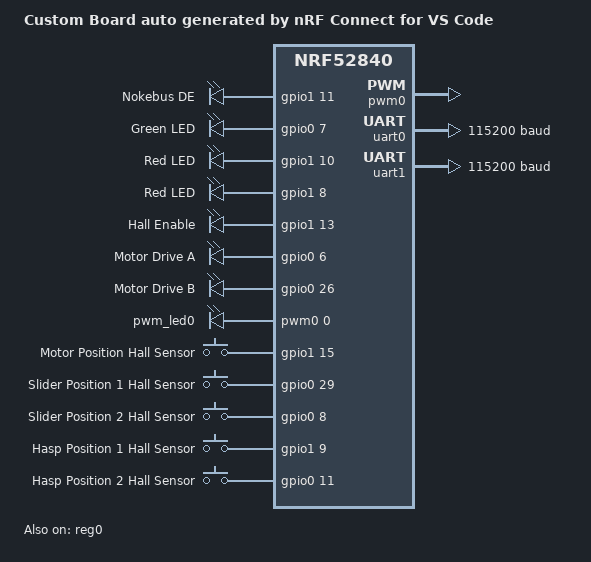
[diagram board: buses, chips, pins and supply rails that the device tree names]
/dts-v1/;
#include <nordic/nrf52840_qiaa.dtsi>
#include "Ion-pinctrl.dtsi"

/ {
	model = "Custom Board auto generated by nRF Connect for VS Code";
	compatible = "Noke,Ion";

	chosen {
		zephyr,sram = &sram0;
		zephyr,flash = &flash0;
		zephyr,code-partition = &slot0_partition;
	};

	leds {
		compatible = "gpio-leds";
		led0: led_0 {
			gpios = <&gpio1 11 (GPIO_PULL_UP | GPIO_ACTIVE_HIGH)>;
			label = "Nokebus DE";
		};
		led1: led_1 {
			gpios = <&gpio0 7 GPIO_ACTIVE_HIGH>;
			label = "Green LED";
		};
		led2: led_2 {
			gpios = <&gpio1 10 GPIO_ACTIVE_HIGH>;
			label = "Red LED";
		};
		led3: led_3 {
			gpios = <&gpio1 8 GPIO_ACTIVE_HIGH>;
			label = "Red LED";
		};
		led4: led_4 {
			gpios = <&gpio1 13 GPIO_ACTIVE_HIGH>;
			label = "Hall Enable";
		};
		led5: led_5 {
			gpios = <&gpio0 6 GPIO_ACTIVE_HIGH>;
			label = "Motor Drive A";
		};
		led6: led_6 {
			gpios = <&gpio0 26 GPIO_ACTIVE_HIGH>;
			label = "Motor Drive B";
		};
	};

	pwmleds {
		compatible = "pwm-leds";
		pwm_led0: pwm_led0 {
			pwms = <&pwm0 0 PWM_MSEC(20) PWM_POLARITY_NORMAL>;
		};
	};

	buttons {
		compatible = "gpio-keys";
		button0: button_0 {
			gpios = <&gpio1 15 GPIO_ACTIVE_HIGH>;
			label = "Motor Position Hall Sensor";
		};
		button1: button_1 {
			gpios = <&gpio0 29 GPIO_ACTIVE_HIGH>;
			label = "Slider Position 1 Hall Sensor";
		};
		button2: button_2 {
			gpios = <&gpio0 8 GPIO_ACTIVE_HIGH>;
			label = "Slider Position 2 Hall Sensor";
		};
		button3: button_3 {
			gpios = <&gpio1 9 GPIO_ACTIVE_HIGH>;
			label = "Hasp Position 1 Hall Sensor";
		};
		button4: button_4 {
			gpios = <&gpio0 11 GPIO_ACTIVE_HIGH>;
			label = "Hasp Position 2 Hall Sensor";
		};
	};

		aliases {
			nb-de = &led0;
			hall-en = &led4;
			led-green = &led1;
			led-red = &led2;
			led-blue = &led3;
			buzzer = &pwm_led0;
			motor1 = &led5;
			motor2 = &led6;
			hall0 = &button0;
			hall1 = &button1;
			hall2 = &button2;
			hall3 = &button0;
			hall4 = &button4;
		};
};

&pwm0 {
	status = "okay";
	pinctrl-0 = <&pwm0_default>;
	pinctrl-1 = <&pwm0_sleep>;
	pinctrl-names = "default","sleep";
};

&flash0 {
	partitions {
		compatible = "fixed-partitions";
		#address-cells = <1>;
		#size-cells = <1>;

		boot_partition: partition@0 {
			label = "mcuboot";
			reg = <0x00000000 DT_SIZE_K(48)>;
		};

		slot0_partition: partition@c000 {
			label = "image-0";
			reg = <0x0000c000 DT_SIZE_K(472)>;
		};

		slot1_partition: partition@82000 {
			label = "image-1";
			reg = <0x00082000 DT_SIZE_K(472)>;
		};

		storage_partition: partition@f8000 {
			label = "storage";
			reg = <0x000f8000 DT_SIZE_K(32)>;
		};
	};
};

&reg0 {
	status = "okay";
};

&reg1 {
	regulator-initial-mode = <NRF5X_REG_MODE_DCDC>;
};

&uart0 {
	compatible = "nordic,nrf-uarte";
	status = "okay";
	current-speed = <115200>;
	pinctrl-0 = <&uart0_default>;
	pinctrl-1 = <&uart0_sleep>;
	pinctrl-names = "default", "sleep";
};

&uart1 {
	compatible = "nordic,nrf-uarte";
	status = "okay";
	current-speed = <115200>;
	pinctrl-0 = <&uart1_default>;
	pinctrl-1 = <&uart1_sleep>;
	pinctrl-names = "default", "sleep";
};

&gpiote {
	status = "okay";
};

&gpio0 {
	status = "okay";
};

&gpio1 {
	status = "okay";
};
